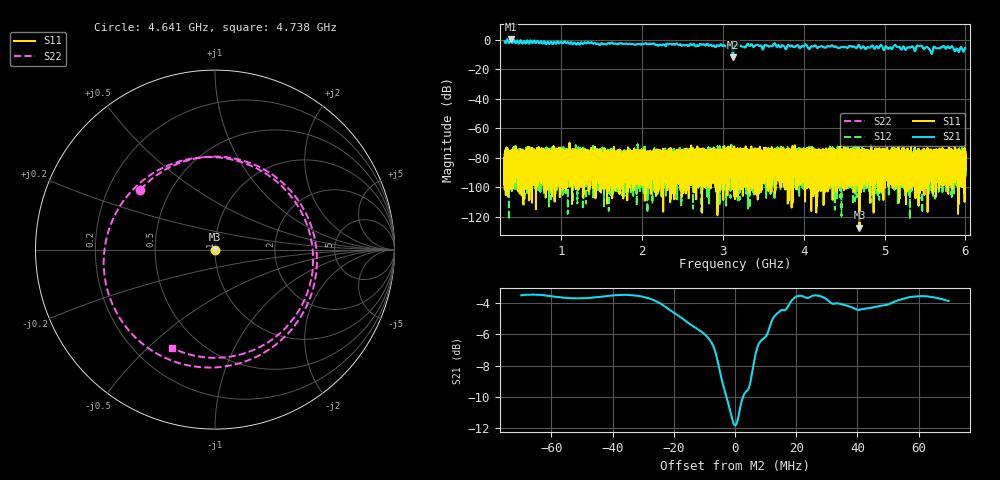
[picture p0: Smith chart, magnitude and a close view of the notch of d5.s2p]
!Agilent Technologies,N5230C,SG49000117,A.08.50.07
!Agilent N5230C: A.08.50.07
!Date: Sunday, March 17, 2024 01:31:50
!Correction: S11(Off)
!S21(Off)
!S12(Off)
!S22(Off)
!S2P File: Measurements: S11, S21, S12, S22:
# Hz S  RI  R 50
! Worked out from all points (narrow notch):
!   20001 points, 300 MHz to 6 GHz, reference 50 ohm
!   highest |S21| = 0.45 dB at 373.2 MHz (marker M1); lowest = -11.8 dB at 3.123 GHz (marker M2)
!   notch at M2: 8.0 dB deep, 11.7 MHz wide at half that depth
!   lowest |S11| = -127.3 dB at 4.69 GHz (marker M3), VSWR 1.00, Z = 50 - j3.86e-05 ohm
!   |S11| at or under -10 dB: start of sweep to end of sweep
!   |S22| runs from -11.8 to 0.5 dB; largest |S21 - S12| = 1.1
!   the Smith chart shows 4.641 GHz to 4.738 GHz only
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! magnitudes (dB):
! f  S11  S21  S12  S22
! 300 MHz  -85.2  -1.0  -88.1  -1.0
! 373.2 MHz  -78.2  0.4  -82.5  0.5
! 1.25 GHz  -80.6  -1.8  -92.5  -1.8
! 2.2 GHz  -85.0  -4.0  -97.0  -4.0
! 3.072 GHz  -77.5  -3.7  -74.5  -3.7
! 3.123 GHz  -85.1  -11.8  -82.0  -11.8
! 3.15 GHz  -80.2  -3.5  -84.9  -3.5
! 3.328 GHz  -100.6  -4.2  -88.1  -4.2
! 3.483 GHz  -84.0  -4.9  -88.7  -4.9
! 3.632 GHz  -93.7  -2.8  -84.3  -2.7
! 3.772 GHz  -88.5  -5.9  -83.5  -5.8
! 4.1 GHz  -81.6  -4.3  -80.8  -4.2
! 4.69 GHz  -127.3  -4.0  -86.7  -3.9
! 5.05 GHz  -90.6  -6.1  -84.8  -6.0
! 5.135 GHz  -81.6  -3.6  -84.2  -3.6
! 5.368 GHz  -84.3  -7.2  -86.5  -7.2
! 5.431 GHz  -82.4  -4.2  -107.8  -4.2
! 5.573 GHz  -80.9  -8.2  -86.1  -8.3
! 5.626 GHz  -81.4  -5.2  -79.6  -5.2
! 5.718 GHz  -91.1  -4.6  -88.2  -4.7
! 5.895 GHz  -84.1  -5.9  -86.4  -6.0
! 6 GHz  -79.0  -5.6  -85.9  -5.6
